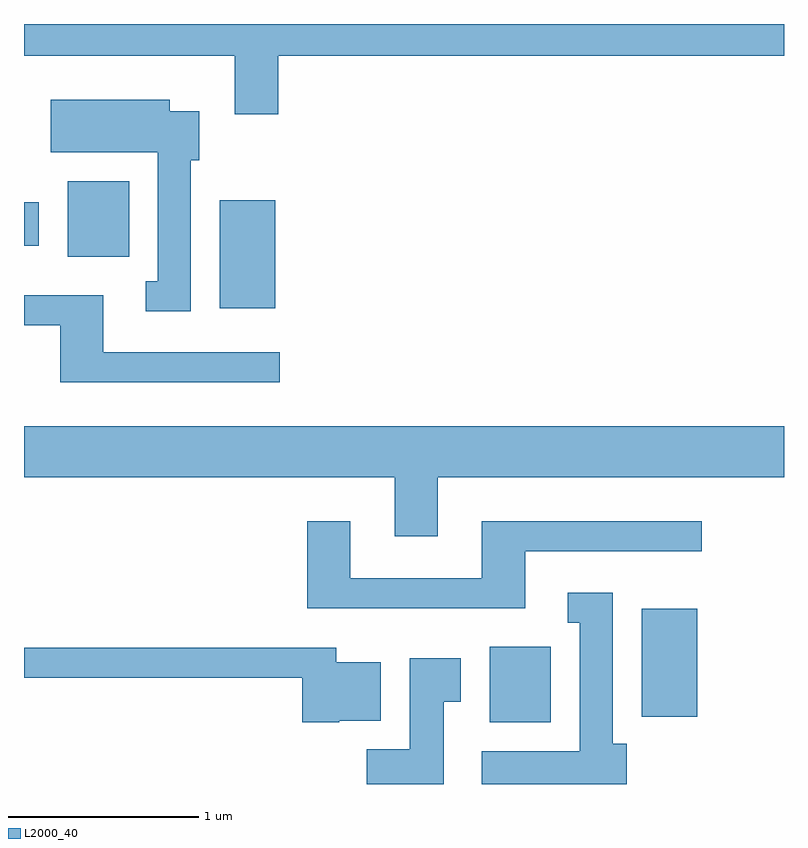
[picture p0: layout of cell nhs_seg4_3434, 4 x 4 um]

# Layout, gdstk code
import gdstk
lib = gdstk.Library(unit=1e-6, precision=1e-09)
def R(c, l, rs):  # rectangles x0, y0, x1, y1
    for r in rs: c.add(gdstk.rectangle(r[:2], r[2:], *l))
def P(c, l, *ps):  # polygons
    for p in ps: c.add(gdstk.Polygon(p, *l))
L2000_40 = (2000, 40)

nhs_seg4_3434 = lib.new_cell('nhs_seg4_3434')
R(nhs_seg4_3434, L2000_40, [(288.061,1322.306,288.384,1322.704), (288.861,1322.336,289.154,1322.904), (286.641,1324.486,286.934,1325.054), (285.841,1324.756,286.164,1325.154), (285.611,1324.816,285.689,1325.044)])
P(nhs_seg4_3434, L2000_40, [(286.949,1325.816),(289.611,1325.816),(289.611,1325.982),(285.611,1325.982),(285.611,1325.816),(286.721,1325.816),(286.721,1325.506),(286.949,1325.506)],
  [(286.489,1325.266),(286.534,1325.266),(286.534,1325.524),(286.379,1325.524),(286.379,1325.584),(285.751,1325.584),(285.751,1325.306),(286.316,1325.306),(286.316,1324.629),(286.253,1324.629),(286.253,1324.471),(286.489,1324.471)],
  [(286.958,1324.254),(286.029,1324.254),(286.029,1324.554),(285.611,1324.554),(285.611,1324.396),(285.801,1324.396),(285.801,1324.096),(286.958,1324.096)],
  [(287.789,1323.596),(289.611,1323.596),(289.611,1323.864),(285.611,1323.864),(285.611,1323.596),(287.561,1323.596),(287.561,1323.286),(287.789,1323.286)],
  [(288.249,1323.206),(289.178,1323.206),(289.178,1323.364),(288.021,1323.364),(288.021,1323.064),(287.329,1323.064),(287.329,1323.364),(287.101,1323.364),(287.101,1322.906),(288.249,1322.906)],
  [(288.784,1322.194),(288.709,1322.194),(288.709,1322.989),(288.473,1322.989),(288.473,1322.831),(288.536,1322.831),(288.536,1322.154),(288.021,1322.154),(288.021,1321.982),(288.784,1321.982)],
  [(287.27,1322.316),(287.489,1322.316),(287.489,1322.624),(287.254,1322.624),(287.254,1322.699),(285.611,1322.699),(285.611,1322.541),(287.076,1322.541),(287.076,1322.306),(287.27,1322.306)],
  [(287.819,1322.416),(287.909,1322.416),(287.909,1322.644),(287.641,1322.644),(287.641,1322.164),(287.416,1322.164),(287.416,1321.982),(287.819,1321.982)])

lib.write_gds('nhs_seg4_3434.gds')
